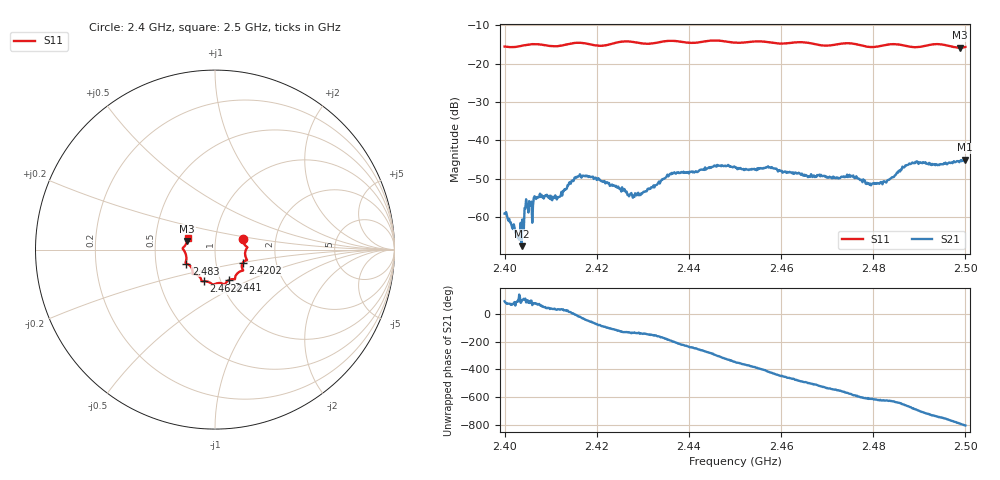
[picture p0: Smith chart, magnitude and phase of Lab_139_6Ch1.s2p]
# Hz S RI R 50
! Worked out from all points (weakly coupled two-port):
!   601 points, 2.4 GHz to 2.5 GHz, reference 50 ohm
!   highest |S21| = -45.04 dB at 2.4998 GHz (marker M1); lowest = -67.6 dB at 2.4037 GHz (marker M2)
!   lowest |S11| = -15.8 dB at 2.4988 GHz (marker M3), VSWR 1.39, Z = 36.4 + j3.47 ohm
!   |S11| at or under -10 dB: start of sweep to end of sweep
!   S12 and S22 are empty: the file has one direction only
!   S11 on the Smith chart (normalised r, x): 2.4 GHz: 1.36, +0.17; 2.4202 GHz: 1.35, -0.20; 2.441 GHz: 1.10, -0.39; 2.4622 GHz: 0.83, -0.30; 2.483 GHz: 0.72, -0.12; 2.5 GHz: 0.73, +0.09
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2.4e9  0.1563 0.0602  -3.3e-05 0.0011  0 0  0 0
2.402833e9  0.1648 0.0281  -5.49e-05 0.000534  0 0  0 0
2.403667e9  0.1696 0.0218  -3.75e-07 0.000415  0 0  0 0
2.404833e9  0.1757 0.0162  -9.72e-06 0.00139  0 0  0 0
2.405667e9  0.1787 0.0141  -0.000168 0.00139  0 0  0 0
2.4075e9  0.1787 0.0103  0.000537 0.00174  0 0  0 0
2.411667e9  0.1677 -0.0267  0.00149 0.00102  0 0  0 0
2.416667e9  0.1776 -0.0584  0.00292 -0.00143  0 0  0 0
2.420167e9  0.156 -0.0719  0.000746 -0.003  0 0  0 0
2.427667e9  0.1531 -0.1174  -0.00134 -0.00138  0 0  0 0
2.433333e9  0.1129 -0.1522  -0.00261 -0.000962  0 0  0 0
2.436333e9  0.1103 -0.1654  -0.00363 0.001  0 0  0 0
2.441e9  0.0769 -0.1705  -0.00165 0.00354  0 0  0 0
2.45e9  0.0266 -0.1861  0.00434 0.00107  0 0  0 0
2.462167e9  -0.0631 -0.1762  -0.000934 -0.00369  0 0  0 0
2.466667e9  -0.0765 -0.167  -0.00271 -0.00209  0 0  0 0
2.483e9  -0.159 -0.0779  -0.000386 0.00294  0 0  0 0
2.483333e9  -0.1607 -0.0771  -0.000191 0.00304  0 0  0 0
2.489e9  -0.1604 -0.0352  0.00412 0.00287  0 0  0 0
2.498833e9  -0.1552 0.0463  0.0018 -0.00502  0 0  0 0
2.499833e9  -0.1532 0.0605  0.000864 -0.00553  0 0  0 0
2.5e9  -0.153 0.0627  0.000625 -0.00539  0 0  0 0
